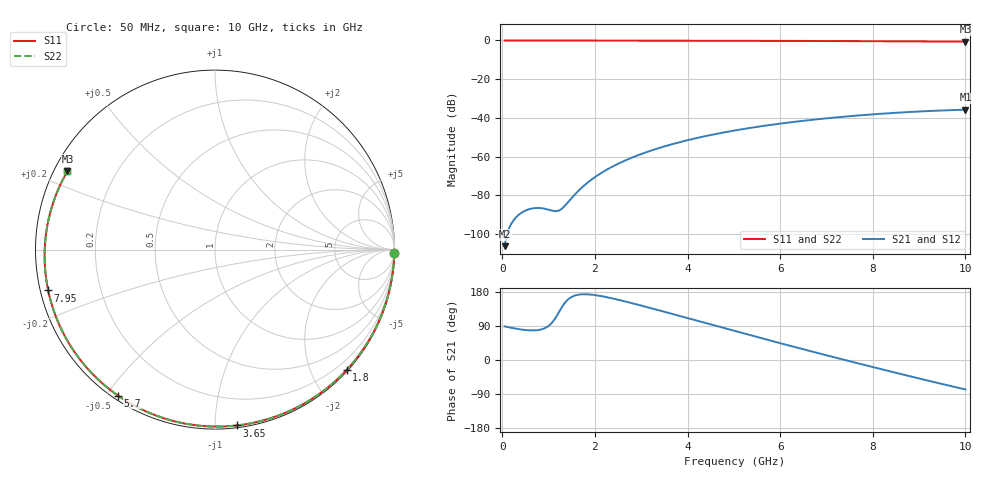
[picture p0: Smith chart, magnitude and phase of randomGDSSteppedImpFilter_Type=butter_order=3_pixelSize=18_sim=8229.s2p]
! freq	dB(S11)	phase(S11)	dB(S12)	phase(S12)
!  dB(S21)	phase(S21)	dB(S22)	phase(S22)
!S-par simulation data
#  GHz  S  DB  R 50
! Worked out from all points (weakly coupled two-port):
!   200 points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, 50 MHz to 10 GHz, reference 50 ohm
!   highest |S21| = -35.76 dB at 10 GHz (marker M1); lowest = -106.3 dB at 50 MHz (marker M2)
!   lowest |S11| = -0.6 dB at 10 GHz (marker M3), VSWR 28.03, Z = 1.89 + j12.5 ohm
!   |S11| at or under -10 dB: nowhere
!   |S22| runs from -0.6 to 0.0 dB; largest |S21 - S12| = 0
!   S11 on the Smith chart (normalised r, x): 50 MHz: 1, -98; 1.8 GHz: 0.02, -2.57; 3.65 GHz: 0.01, -1.13; 5.7 GHz: 0.02, -0.54; 7.95 GHz: 0.02, -0.12; 10 GHz: 0.04, +0.25
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0.05  -0.00 -1.2  -106.25 88.7  -106.25 88.7  -0.00 -1.2
0.45  -0.02 -10.8  -88.46 79.7  -88.46 79.7  -0.02 -10.8
0.8  -0.02 -19.1  -86.54 79.5  -86.54 79.5  -0.02 -19.1
1.55  -0.05 -36.7  -80.00 169.3  -80.00 169.3  -0.05 -36.7
1.75  -0.05 -41.3  -75.29 173.5  -75.29 173.5  -0.05 -41.3
1.8  -0.05 -42.5  -74.26 173.5  -74.26 173.5  -0.05 -42.5
2.1  -0.06 -49.3  -69.01 169.4  -69.01 169.4  -0.06 -49.3
2.45  -0.07 -57.1  -64.29 160.5  -64.29 160.5  -0.07 -57.1
2.9  -0.09 -67.0  -59.56 146.8  -59.56 146.8  -0.09 -67.0
3.4  -0.10 -77.7  -55.44 130.5  -55.44 130.5  -0.10 -77.7
3.65  -0.11 -82.9  -53.69 122.2  -53.69 122.2  -0.11 -82.9
4.35  -0.14 -97.2  -49.59 98.8  -49.59 98.8  -0.14 -97.2
5.05  -0.17 -111.1  -46.36 75.5  -46.36 75.5  -0.17 -111.1
5.7  -0.20 -123.6  -43.93 54.1  -43.93 54.1  -0.20 -123.6
6.7  -0.27 -142.5  -40.96 21.9  -40.96 21.9  -0.27 -142.5
7.35  -0.33 -154.8  -39.43 1.5  -39.43 1.5  -0.33 -154.8
7.95  -0.38 -166.3  -38.25 -17.1  -38.25 -17.1  -0.38 -166.2
8.35  -0.42 -174.0  -37.59 -29.3  -37.59 -29.3  -0.42 -174.0
8.8  -0.47 177.1  -36.94 -42.8  -36.94 -42.8  -0.47 177.1
9.2  -0.52 168.9  -36.46 -54.7  -36.46 -54.7  -0.52 169.0
9.6  -0.57 160.6  -36.07 -66.3  -36.07 -66.3  -0.57 160.6
10  -0.62 152.0  -35.76 -77.7  -35.76 -77.7  -0.62 152.0
